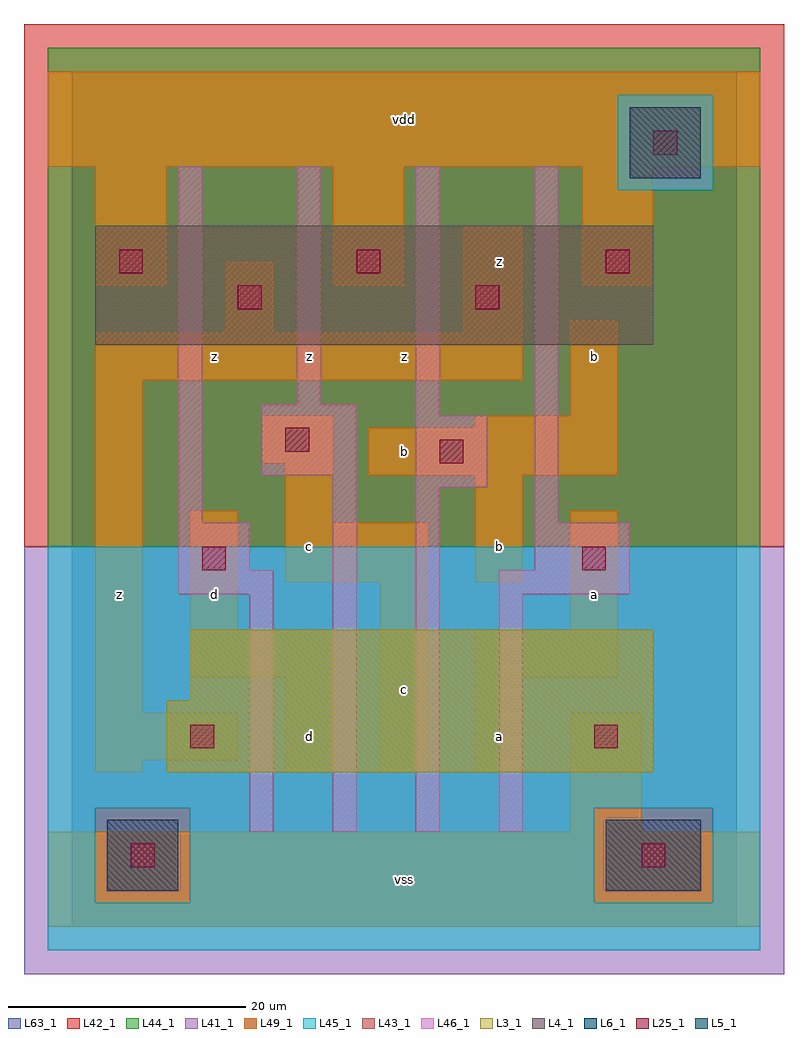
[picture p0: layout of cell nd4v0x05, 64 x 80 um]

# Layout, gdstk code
import gdstk
lib = gdstk.Library(unit=1e-6, precision=1e-09)
def R(c, l, rs):  # rectangles x0, y0, x1, y1
    for r in rs: c.add(gdstk.rectangle(r[:2], r[2:], *l))
L3_1 = (3, 1)
L4_1 = (4, 1)
L5_1 = (5, 1)
L6_1 = (6, 1)
L25_1 = (25, 1)
L41_1 = (41, 1)
L42_1 = (42, 1)
L43_1 = (43, 1)
L44_1 = (44, 1)
L45_1 = (45, 1)
L46_1 = (46, 1)
L49_1 = (49, 1)
L63_1 = (63, 1)

nd4v0x05 = lib.new_cell('nd4v0x05')
R(nd4v0x05, L3_1, [(8,13,49,19), (10,19,49,25)])
R(nd4v0x05, L4_1, [(2,49,49,59)])
R(nd4v0x05, L5_1, [(47,63,53,69)])
R(nd4v0x05, L6_1, [(3,3,9,9), (3,3,9,9), (45,3,53,9), (45,3,53,9)])
R(nd4v0x05, L25_1, [(5,5,7,7), (48,5,50,7), (10,15,12,17), (44,15,46,17), (11,30,13,32), (43,30,45,32), (31,39,33,41), (18,40,20,42), (14,52,16,54), (34,52,36,54), (4,55,6,57), (24,55,26,57), (45,55,47,57), (49,65,51,67)])
R(nd4v0x05, L41_1, [(-4,-4,60,32)])
R(nd4v0x05, L42_1, [(-4,32,60,76)])
R(nd4v0x05, L43_1, [(3,3,9,9), (45,3,53,9), (8,13,49,19), (10,19,49,25), (2,49,49,59), (47,63,53,69)])
R(nd4v0x05, L44_1, [(2,2,10,10), (44,2,54,10), (-2,32,58,62), (-2,62,46,70), (54,62,58,70), (-2,70,58,74)])
R(nd4v0x05, L45_1, [(-2,-2,58,2), (-2,2,2,10), (10,2,44,10), (54,2,58,10), (-2,10,58,32), (46,62,54,70)])
R(nd4v0x05, L46_1, [(15,8,17,28), (22,8,24,38), (29,8,31,37), (36,8,38,28), (9,28,17,30), (36,28,47,30), (9,30,15,34), (39,30,47,34), (9,34,11,64), (39,34,41,64), (29,37,35,43), (16,38,24,44), (29,43,31,64), (19,44,21,64)])
R(nd4v0x05, L49_1, [(-2,0,58,8), (42,8,48,18), (2,13,6,14), (18,13,22,21), (26,13,30,29), (34,13,38,21), (2,14,14,18), (2,18,6,46), (10,21,22,25), (34,21,46,25), (10,25,14,35), (42,25,46,35), (18,29,30,34), (34,29,38,38), (18,34,22,39), (25,38,46,42), (16,39,22,43), (34,42,46,43), (42,43,46,51), (2,46,38,50), (13,50,17,56), (33,50,38,59), (2,54,8,64), (22,54,28,64), (43,54,49,64), (-2,64,58,72)])
R(nd4v0x05, L63_1, [(0,0,56,72)])
nd4v0x05.add(gdstk.Label('z', (4,28), layer=49, texttype=1))
nd4v0x05.add(gdstk.Label('d', (12,28), layer=49, texttype=1))
nd4v0x05.add(gdstk.Label('z', (12,48), layer=49, texttype=1))
nd4v0x05.add(gdstk.Label('vss', (28,4), layer=49, texttype=1))
nd4v0x05.add(gdstk.Label('d', (20,16), layer=49, texttype=1))
nd4v0x05.add(gdstk.Label('c', (28,20), layer=49, texttype=1))
nd4v0x05.add(gdstk.Label('c', (20,32), layer=49, texttype=1))
nd4v0x05.add(gdstk.Label('b', (28,40), layer=49, texttype=1))
nd4v0x05.add(gdstk.Label('z', (20,48), layer=49, texttype=1))
nd4v0x05.add(gdstk.Label('z', (28,48), layer=49, texttype=1))
nd4v0x05.add(gdstk.Label('vdd', (28,68), layer=49, texttype=1))
nd4v0x05.add(gdstk.Label('a', (36,16), layer=49, texttype=1))
nd4v0x05.add(gdstk.Label('a', (44,28), layer=49, texttype=1))
nd4v0x05.add(gdstk.Label('b', (36,32), layer=49, texttype=1))
nd4v0x05.add(gdstk.Label('b', (44,48), layer=49, texttype=1))
nd4v0x05.add(gdstk.Label('z', (36,56), layer=49, texttype=1))

lib.write_gds('nd4v0x05.gds')
